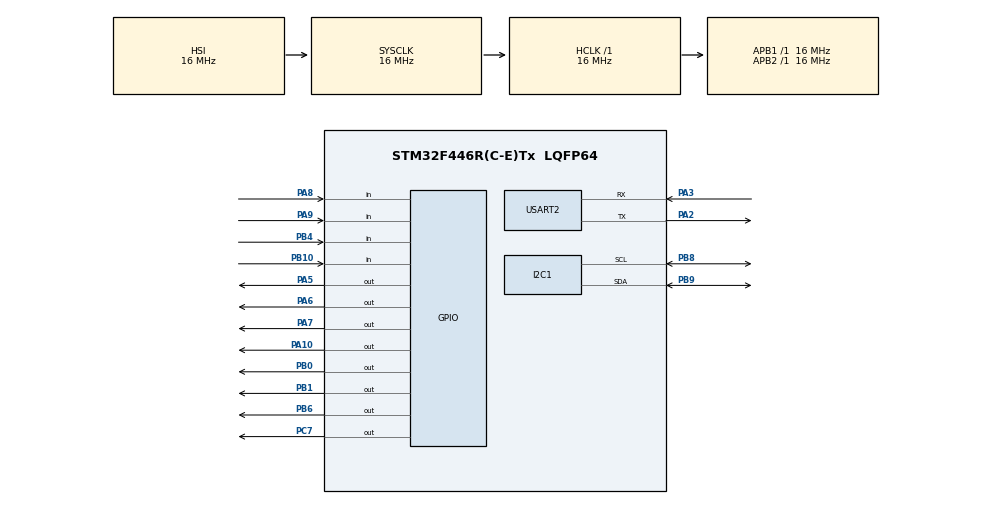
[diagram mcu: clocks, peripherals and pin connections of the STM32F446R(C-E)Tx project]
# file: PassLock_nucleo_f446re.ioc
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Mcu.Family=STM32F4
Mcu.Name=STM32F446R(C-E)Tx
Mcu.Package=LQFP64
NVIC.PriorityGroup=NVIC_PRIORITYGROUP_4
PA10.Signal=GPIO_Output
PA2.Mode=Asynchronous
PA2.Signal=USART2_TX
PA3.Mode=Asynchronous
PA3.Signal=USART2_RX
PA5.Signal=GPIO_Output
PA6.PinState=GPIO_PIN_SET
PA6.Signal=GPIO_Output
PA7.PinState=GPIO_PIN_SET
PA7.Signal=GPIO_Output
PA8.GPIO_PuPd=GPIO_PULLUP
PA8.Signal=GPIO_Input
PA9.GPIO_PuPd=GPIO_PULLUP
PA9.Signal=GPIO_Input
PB0.Signal=GPIO_Output
PB1.Signal=GPIO_Output
PB10.GPIO_PuPd=GPIO_PULLUP
PB10.Signal=GPIO_Input
PB4.GPIO_PuPd=GPIO_PULLUP
PB4.Signal=GPIO_Input
PB6.PinState=GPIO_PIN_SET
PB6.Signal=GPIO_Output
PB8.Mode=I2C
PB8.Signal=I2C1_SCL
PB9.Mode=I2C
PB9.Signal=I2C1_SDA
PC7.PinState=GPIO_PIN_SET
PC7.Signal=GPIO_Output
ProjectManager.HeapSize=0x200
ProjectManager.StackSize=0x400
ProjectManager.TargetToolchain=STM32CubeIDE
RCC.AHBFreq_Value=16000000
RCC.APB1Freq_Value=16000000
RCC.APB1TimFreq_Value=16000000
RCC.APB2Freq_Value=16000000
RCC.APB2TimFreq_Value=16000000
RCC.CortexFreq_Value=16000000
RCC.HCLKFreq_Value=16000000
RCC.SYSCLKFreq_VALUE=16000000
RCC.USBFreq_Value=96000000
RCC.VCOOutputFreq_Value=192000000
USART2.VirtualMode=VM_ASYNC
board=custom

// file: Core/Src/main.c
/* USER CODE BEGIN Header */
/**
  ******************************************************************************
  * @file           : main.c
  * @brief          : Main program body
  ******************************************************************************
  * @attention
  *
  * Copyright (c) 2025 STMicroelectronics.
  * All rights reserved.
  *
  * This software is licensed under terms that can be found in the LICENSE file
  * in the root directory of this software component.
  * If no LICENSE file comes with this software, it is provided AS-IS.
  *
  ******************************************************************************
  */
/* USER CODE END Header */
#include "main.h"

/* USER CODE BEGIN Includes */
#include "main.h"
#include "i2c-lcd.h"
#include "keypad.h"
#include <string.h>
#include <stdio.h>

/* USER CODE END Includes */

/* USER CODE BEGIN PD */

// Additional GPIO Pin Definitions
#define RELAY_Port GPIOB
#define RELAY_Pin GPIO_PIN_0
#define BUZZER_Port GPIOB
#define BUZZER_Pin GPIO_PIN_1
#define LED_GREEN_Port GPIOA
#define LED_GREEN_Pin GPIO_PIN_5
#define LED_RED_Port GPIOA
#define LED_RED_Pin GPIO_PIN_10

// System Configuration
#define CORRECT_PIN "1234"
#define PIN_LENGTH 4
#define MAX_ATTEMPTS 3
#define LOCKOUT_TIME 30000  // 30 seconds in milliseconds
#define RELAY_ON_TIME 3000  // 3 seconds door unlock time

/* USER CODE END PD */

I2C_HandleTypeDef hi2c1;

UART_HandleTypeDef huart2;

/* USER CODE BEGIN PV */

// System State Variables
static char entered_pin[PIN_LENGTH + 1] = {0};
static uint8_t pin_index = 0;
static uint8_t failed_attempts = 0;
static uint32_t lockout_start_time = 0;
static uint8_t system_locked = 0;
static uint32_t relay_start_time = 0;
static uint8_t relay_active = 0;

/* USER CODE END PV */

void SystemClock_Config(void);
static void MX_GPIO_Init(void);
static void MX_I2C1_Init(void);
static void MX_USART2_UART_Init(void);

/* USER CODE BEGIN PFP */
void process_key(char key);
void check_pin(void);
void grant_access(void);
void deny_access(void);
void reset_pin_entry(void);
void update_display(void);
void buzzer_beep(uint16_t duration);
void system_update(void);
/* USER CODE END PFP */

/* USER CODE BEGIN 0 */

/**
 * @brief Process a key press
 * @param key: Character of the pressed key
 */
void process_key(char key) {
    if (key == '\0') return; // No key pressed

    buzzer_beep(100); // Short beep for feedback

    if (key >= '0' && key <= '9') {
        // Numeric key pressed
        if (pin_index < PIN_LENGTH) {
            entered_pin[pin_index] = key;
            pin_index++;
            update_display();
        }
    }
    else if (key == '#') {
        // Enter/Submit key
        if (pin_index == PIN_LENGTH) {
            check_pin();
        } else {
            // Not enough digits entered
            lcd_clear();
            lcd_put_cur(0, 0);
            lcd_send_string("Enter 4 digits!");
            lcd_put_cur(1, 0);
            lcd_send_string("Then press #");
            HAL_Delay(2000);
            reset_pin_entry();
        }
    }
    else if (key == '*') {
        // Clear/Reset key
        reset_pin_entry();
    }
    else if (key == 'A') {
        // Master reset (optional feature)
        failed_attempts = 0;
        system_locked = 0;
        reset_pin_entry();
        lcd_clear();
        lcd_put_cur(0, 0);
        lcd_send_string("System Reset");
        HAL_Delay(1000);
        update_display();
    }
}

/**
 * @brief Check if entered PIN is correct
 */
void check_pin(void) {
    entered_pin[PIN_LENGTH] = '\0'; // Null terminate

    if (strcmp(entered_pin, CORRECT_PIN) == 0) {
        grant_access();
    } else {
        deny_access();
    }

    reset_pin_entry();
}

/**
 * @brief Grant access - unlock door
 */
void grant_access(void) {
    failed_attempts = 0; // Reset failed attempts

    // Display success message
    lcd_clear();
    lcd_put_cur(0, 0);
    lcd_send_string("ACCESS GRANTED");
    lcd_put_cur(1, 0);
    lcd_send_string("Door Unlocked");

    // Turn on green LED and activate relay
    HAL_GPIO_WritePin(LED_GREEN_Port, LED_GREEN_Pin, GPIO_PIN_SET);
    HAL_GPIO_WritePin(LED_RED_Port, LED_RED_Pin, GPIO_PIN_RESET);
    HAL_GPIO_WritePin(RELAY_Port, RELAY_Pin, GPIO_PIN_SET);

    // Success beep pattern
    buzzer_beep(200);
    HAL_Delay(100);
    buzzer_beep(200);

    // Set relay timer
    relay_active = 1;
    relay_start_time = HAL_GetTick();

    HAL_Delay(1000);
}

/**
 * @brief Deny access - wrong PIN
 */
void deny_access(void) {
    failed_attempts++;

    // Display error message
    lcd_clear();
    lcd_put_cur(0, 0);
    lcd_send_string("ACCESS DENIED");
    lcd_put_cur(1, 0);
    char msg[20]; // Increased buffer size
    sprintf(msg, "Attempts: %d/%d", failed_attempts, MAX_ATTEMPTS);
    lcd_send_string(msg);

    // Flash red LED
    for (int i = 0; i < 3; i++) {
        HAL_GPIO_WritePin(LED_RED_Port, LED_RED_Pin, GPIO_PIN_SET);
        buzzer_beep(300);
        HAL_Delay(200);
        HAL_GPIO_WritePin(LED_RED_Port, LED_RED_Pin, GPIO_PIN_RESET);
        HAL_Delay(200);
    }

    // Check if max attempts reached
    if (failed_attempts >= MAX_ATTEMPTS) {
        system_locked = 1;
        lockout_start_time = HAL_GetTick();

        lcd_clear();
        lcd_put_cur(0, 0);
        lcd_send_string("SYSTEM LOCKED");
        lcd_put_cur(1, 0);
        lcd_send_string("Wait 30 seconds");

        // Long error beep
        buzzer_beep(1000);
    }

    HAL_Delay(2000);
}

/**
 * @brief Reset PIN entry
 */
void reset_pin_entry(void) {
    memset(entered_pin, 0, sizeof(entered_pin));
    pin_index = 0;
    update_display();
}

/**
 * @brief Update LCD display based on current state
 */
void update_display(void) {
    if (system_locked) {
        uint32_t time_left = (LOCKOUT_TIME - (HAL_GetTick() - lockout_start_time)) / 1000;
        if (time_left > 99) time_left = 99; // Cap at 99 to prevent overflow

        lcd_clear();
        lcd_put_cur(0, 0);
        lcd_send_string("SYSTEM LOCKED");
        lcd_put_cur(1, 0);
        char msg[20]; // Increased buffer size
        sprintf(msg, "Wait: %lu sec", time_left);
        lcd_send_string(msg);
        return;
    }

    lcd_clear();
    lcd_put_cur(0, 0);
    lcd_send_string("Enter PIN:");

    lcd_put_cur(1, 0);
    // Display entered digits as asterisks
    for (int i = 0; i < pin_index; i++) {
        lcd_send_data('*');
    }

    // Show remaining digits as underscores
    for (int i = pin_index; i < PIN_LENGTH; i++) {
        lcd_send_data('_');
    }
}

/**
 * @brief Generate buzzer beep
 * @param duration: Beep duration in milliseconds
 */
void buzzer_beep(uint16_t duration) {
    HAL_GPIO_WritePin(BUZZER_Port, BUZZER_Pin, GPIO_PIN_SET);
    HAL_Delay(duration);
    HAL_GPIO_WritePin(BUZZER_Port, BUZZER_Pin, GPIO_PIN_RESET);
}

/**
 * @brief Update system timers and states
 */
void system_update(void) {
    uint32_t current_time = HAL_GetTick();

    // Handle relay auto-off
    if (relay_active && (current_time - relay_start_time) >= RELAY_ON_TIME) {
        HAL_GPIO_WritePin(RELAY_Port, RELAY_Pin, GPIO_PIN_RESET);
        HAL_GPIO_WritePin(LED_GREEN_Port, LED_GREEN_Pin, GPIO_PIN_RESET);
        relay_active = 0;
        update_display();
    }

    // Handle system lockout
    if (system_locked && (current_time - lockout_start_time) >= LOCKOUT_TIME) {
        system_locked = 0;
        failed_attempts = 0;
        reset_pin_entry();
    }

    // Update display if locked (to show countdown)
    if (system_locked) {
        static uint32_t last_display_update = 0;
        if (current_time - last_display_update >= 1000) { // Update every second
            update_display();
            last_display_update = current_time;
        }
    }
}

/* USER CODE END 0 */

int main(void)
{

  /* MCU Configuration--------------------------------------------------------*/

  /* Reset of all peripherals, Initializes the Flash interface and the Systick. */
  HAL_Init();

  /* Configure the system clock */
  SystemClock_Config();

  /* Initialize all configured peripherals */
  MX_GPIO_Init();
  MX_I2C1_Init();
  MX_USART2_UART_Init();
  /* USER CODE BEGIN 2 */

  // Initialize keypad
  keypad_init();

  // Initialize LCD
  lcd_init(&hi2c1);
  HAL_Delay(100);

  // Welcome message
  lcd_clear();
  lcd_put_cur(0, 0);
  lcd_send_string("Door Lock System");
  lcd_put_cur(1, 0);
  lcd_send_string("Initializing...");
  HAL_Delay(2000);

  // Initial display update
  reset_pin_entry();

  // Initial LED states
  HAL_GPIO_WritePin(LED_GREEN_Port, LED_GREEN_Pin, GPIO_PIN_RESET);
  HAL_GPIO_WritePin(LED_RED_Port, LED_RED_Pin, GPIO_PIN_RESET);
  HAL_GPIO_WritePin(RELAY_Port, RELAY_Pin, GPIO_PIN_RESET);
  HAL_GPIO_WritePin(BUZZER_Port, BUZZER_Pin, GPIO_PIN_RESET);

  // Startup beep
  buzzer_beep(200);

  /* USER CODE END 2 */

  /* Infinite loop */
  while (1)
  {

    /* USER CODE BEGIN 3 */
	    // Update system state
	    system_update();

	    // Only process keypad if system is not locked
	    if (!system_locked) {
	        char key = keypad_get_key();
	        if (key != '\0') {
	            process_key(key);
	        }
	    }

	    // Small delay to prevent excessive CPU usage
	    HAL_Delay(10);
  }

  /* USER CODE END 3 */
}

void SystemClock_Config(void)
{
  RCC_OscInitTypeDef RCC_OscInitStruct = {0};
  RCC_ClkInitTypeDef RCC_ClkInitStruct = {0};

  /** Configure the main internal regulator output voltage
  */
  __HAL_RCC_PWR_CLK_ENABLE();
  __HAL_PWR_VOLTAGESCALING_CONFIG(PWR_REGULATOR_VOLTAGE_SCALE3);

  /** Initializes the RCC Oscillators according to the specified parameters
  * in the RCC_OscInitTypeDef structure.
  */
  RCC_OscInitStruct.OscillatorType = RCC_OSCILLATORTYPE_HSI;
  RCC_OscInitStruct.HSIState = RCC_HSI_ON;
  RCC_OscInitStruct.HSICalibrationValue = RCC_HSICALIBRATION_DEFAULT;
  RCC_OscInitStruct.PLL.PLLState = RCC_PLL_NONE;
  if (HAL_RCC_OscConfig(&RCC_OscInitStruct) != HAL_OK)
  {
    Error_Handler();
  }

  /** Initializes the CPU, AHB and APB buses clocks
  */
  RCC_ClkInitStruct.ClockType = RCC_CLOCKTYPE_HCLK|RCC_CLOCKTYPE_SYSCLK
                              |RCC_CLOCKTYPE_PCLK1|RCC_CLOCKTYPE_PCLK2;
  RCC_ClkInitStruct.SYSCLKSource = RCC_SYSCLKSOURCE_HSI;
  RCC_ClkInitStruct.AHBCLKDivider = RCC_SYSCLK_DIV1;
  RCC_ClkInitStruct.APB1CLKDivider = RCC_HCLK_DIV1;
  RCC_ClkInitStruct.APB2CLKDivider = RCC_HCLK_DIV1;

  if (HAL_RCC_ClockConfig(&RCC_ClkInitStruct, FLASH_LATENCY_0) != HAL_OK)
  {
    Error_Handler();
  }
}

static void MX_I2C1_Init(void)
{

  hi2c1.Instance = I2C1;
  hi2c1.Init.ClockSpeed = 100000;
  hi2c1.Init.DutyCycle = I2C_DUTYCYCLE_2;
  hi2c1.Init.OwnAddress1 = 0;
  hi2c1.Init.AddressingMode = I2C_ADDRESSINGMODE_7BIT;
  hi2c1.Init.DualAddressMode = I2C_DUALADDRESS_DISABLE;
  hi2c1.Init.OwnAddress2 = 0;
  hi2c1.Init.GeneralCallMode = I2C_GENERALCALL_DISABLE;
  hi2c1.Init.NoStretchMode = I2C_NOSTRETCH_DISABLE;
  if (HAL_I2C_Init(&hi2c1) != HAL_OK)
  {
    Error_Handler();
  }

}

static void MX_USART2_UART_Init(void)
{

  huart2.Instance = USART2;
  huart2.Init.BaudRate = 115200;
  huart2.Init.WordLength = UART_WORDLENGTH_8B;
  huart2.Init.StopBits = UART_STOPBITS_1;
  huart2.Init.Parity = UART_PARITY_NONE;
  huart2.Init.Mode = UART_MODE_TX_RX;
  huart2.Init.HwFlowCtl = UART_HWCONTROL_NONE;
  huart2.Init.OverSampling = UART_OVERSAMPLING_16;
  if (HAL_UART_Init(&huart2) != HAL_OK)
  {
    Error_Handler();
  }

}

static void MX_GPIO_Init(void)
{
  GPIO_InitTypeDef GPIO_InitStruct = {0};

  /* GPIO Ports Clock Enable */
  __HAL_RCC_GPIOA_CLK_ENABLE();
  __HAL_RCC_GPIOB_CLK_ENABLE();
  __HAL_RCC_GPIOC_CLK_ENABLE();

  /*Configure GPIO pin Output Level */
  HAL_GPIO_WritePin(GPIOA, GPIO_PIN_5|GPIO_PIN_10, GPIO_PIN_RESET);

  /*Configure GPIO pin Output Level */
  HAL_GPIO_WritePin(GPIOA, GPIO_PIN_6|GPIO_PIN_7, GPIO_PIN_SET);

  /*Configure GPIO pin Output Level */
  HAL_GPIO_WritePin(GPIOB, GPIO_PIN_0|GPIO_PIN_1, GPIO_PIN_RESET);

  /*Configure GPIO pin Output Level */
  HAL_GPIO_WritePin(GPIOC, GPIO_PIN_7, GPIO_PIN_SET);

  /*Configure GPIO pin Output Level */
  HAL_GPIO_WritePin(GPIOB, GPIO_PIN_6, GPIO_PIN_SET);

  /*Configure GPIO pins : PA5 PA6 PA7 PA10 */
  GPIO_InitStruct.Pin = GPIO_PIN_5|GPIO_PIN_6|GPIO_PIN_7|GPIO_PIN_10;
  GPIO_InitStruct.Mode = GPIO_MODE_OUTPUT_PP;
  GPIO_InitStruct.Pull = GPIO_NOPULL;
  GPIO_InitStruct.Speed = GPIO_SPEED_FREQ_LOW;
  HAL_GPIO_Init(GPIOA, &GPIO_InitStruct);

  /*Configure GPIO pins : PB0 PB1 PB6 */
  GPIO_InitStruct.Pin = GPIO_PIN_0|GPIO_PIN_1|GPIO_PIN_6;
  GPIO_InitStruct.Mode = GPIO_MODE_OUTPUT_PP;
  GPIO_InitStruct.Pull = GPIO_NOPULL;
  GPIO_InitStruct.Speed = GPIO_SPEED_FREQ_LOW;
  HAL_GPIO_Init(GPIOB, &GPIO_InitStruct);

  /*Configure GPIO pins : PB10 PB4 */
  GPIO_InitStruct.Pin = GPIO_PIN_10|GPIO_PIN_4;
  GPIO_InitStruct.Mode = GPIO_MODE_INPUT;
  GPIO_InitStruct.Pull = GPIO_PULLUP;
  HAL_GPIO_Init(GPIOB, &GPIO_InitStruct);

  /*Configure GPIO pin : PC7 */
  GPIO_InitStruct.Pin = GPIO_PIN_7;
  GPIO_InitStruct.Mode = GPIO_MODE_OUTPUT_PP;
  GPIO_InitStruct.Pull = GPIO_NOPULL;
  GPIO_InitStruct.Speed = GPIO_SPEED_FREQ_LOW;
  HAL_GPIO_Init(GPIOC, &GPIO_InitStruct);

  /*Configure GPIO pins : PA8 PA9 */
  GPIO_InitStruct.Pin = GPIO_PIN_8|GPIO_PIN_9;
  GPIO_InitStruct.Mode = GPIO_MODE_INPUT;
  GPIO_InitStruct.Pull = GPIO_PULLUP;
  HAL_GPIO_Init(GPIOA, &GPIO_InitStruct);

}

void Error_Handler(void)
{
  __disable_irq();
  while (1)
  {
  }
}
